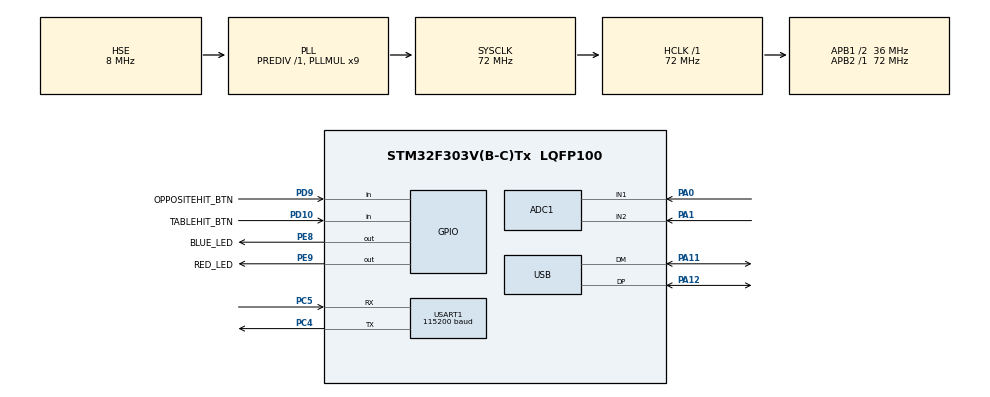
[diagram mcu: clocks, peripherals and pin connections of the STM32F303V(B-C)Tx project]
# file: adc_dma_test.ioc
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ADC1.Channel-0\#ChannelRegularConversion=ADC_CHANNEL_1
ADC1.Channel-1\#ChannelRegularConversion=ADC_CHANNEL_2
ADC1.ContinuousConvMode=ENABLE
ADC1.DMAContinuousRequests=ENABLE
ADC1.NbrOfConversion=2
ADC1.NbrOfConversionFlag=1
ADC1.Offset-0\#ChannelRegularConversion=0
ADC1.Offset-1\#ChannelRegularConversion=0
ADC1.OffsetNumber-0\#ChannelRegularConversion=ADC_OFFSET_NONE
ADC1.OffsetNumber-1\#ChannelRegularConversion=ADC_OFFSET_NONE
ADC1.Rank-0\#ChannelRegularConversion=1
ADC1.Rank-1\#ChannelRegularConversion=2
ADC1.SamplingTime-0\#ChannelRegularConversion=ADC_SAMPLETIME_601CYCLES_5
ADC1.SamplingTime-1\#ChannelRegularConversion=ADC_SAMPLETIME_601CYCLES_5
ADC1.SamplingTimeOPAMP-1\#ChannelRegularConversion=ADC_SAMPLETIME_19CYCLES_5
ADC1.master=1
Dma.ADC1.0.Direction=DMA_PERIPH_TO_MEMORY
Dma.ADC1.0.Instance=DMA1_Channel1
Dma.ADC1.0.MemDataAlignment=DMA_MDATAALIGN_HALFWORD
Dma.ADC1.0.MemInc=DMA_MINC_ENABLE
Dma.ADC1.0.Mode=DMA_CIRCULAR
Dma.ADC1.0.PeriphDataAlignment=DMA_PDATAALIGN_HALFWORD
Dma.ADC1.0.PeriphInc=DMA_PINC_DISABLE
Dma.ADC1.0.Priority=DMA_PRIORITY_LOW
Dma.Request0=ADC1
EdgeImpulse.OS-APPSC.1.0.10.MachineLearningCcOSAaAPPSCJjCore=true
FREERTOS.BinarySemaphores01=dataAvailable,Dynamic,NULL
FREERTOS.Queues01=inferenceTaskQueue,16,uint32_t,0,Dynamic,NULL,NULL
FREERTOS.Tasks01=samplingTask,-2,128,StartSamplingTask,Default,NULL,Dynamic,NULL,NULL;inferencingTask,2,256,StartInferencingTask,Default,NULL,Dynamic,NULL,NULL
FREERTOS.Timers01=timeoutTimer,timeoutCallback,osTimerOnce,Default,NULL,Dynamic,NULL
FREERTOS.configTIMER_TASK_PRIORITY=1
FREERTOS.configUSE_NEWLIB_REENTRANT=1
FREERTOS.configUSE_TIMERS=1
Mcu.Family=STM32F3
Mcu.Name=STM32F303V(B-C)Tx
Mcu.Package=LQFP100
NVIC.DMA1_Channel1_IRQn=true\:5\:0\:false\:false\:true\:true\:false\:true\:true
NVIC.PriorityGroup=NVIC_PRIORITYGROUP_4
NVIC.TIM1_UP_TIM16_IRQn=true\:15\:0\:true\:false\:true\:false\:false\:true\:true
NVIC.TimeBase=TIM1_UP_TIM16_IRQn
NVIC.TimeBaseIP=TIM1
PA0.Mode=IN1-Single-Ended
PA0.Signal=ADC1_IN1
PA1.Mode=IN2-Single-Ended
PA1.Signal=ADC1_IN2
PA11.Mode=Device
PA11.Signal=USB_DM
PA12.Mode=Device
PA12.Signal=USB_DP
PC14-OSC32_IN.Mode=LSE-External-Oscillator
PC14-OSC32_IN.Signal=RCC_OSC32_IN
PC15-OSC32_OUT.Mode=LSE-External-Oscillator
PC15-OSC32_OUT.Signal=RCC_OSC32_OUT
PC4.Mode=Asynchronous
PC4.Signal=USART1_TX
PC5.Mode=Asynchronous
PC5.Signal=USART1_RX
PD10.GPIO_Label=TABLEHIT_BTN
PD10.GPIO_PuPd=GPIO_PULLUP
PD10.Signal=GPIO_Input
PD9.GPIO_Label=OPPOSITEHIT_BTN
PD9.Signal=GPIO_Input
PE8.GPIO_Label=BLUE_LED
PE8.Signal=GPIO_Output
PE9.GPIO_Label=RED_LED
PE9.Signal=GPIO_Output
PF0-OSC_IN.Mode=HSE-External-Oscillator
PF0-OSC_IN.Signal=RCC_OSC_IN
PF1-OSC_OUT.Mode=HSE-External-Oscillator
PF1-OSC_OUT.Signal=RCC_OSC_OUT
ProjectManager.HeapSize=0x200
ProjectManager.StackSize=0x400
ProjectManager.TargetToolchain=STM32CubeIDE
RCC.ADC12PRES=RCC_ADC12PLLCLK_DIV256
RCC.AHBFreq_Value=72000000
RCC.APB1CLKDivider=RCC_HCLK_DIV2
RCC.APB1Freq_Value=36000000
RCC.APB1TimFreq_Value=72000000
RCC.APB2Freq_Value=72000000
RCC.APB2TimFreq_Value=72000000
RCC.CortexFreq_Value=72000000
RCC.HCLKFreq_Value=72000000
RCC.HSE_VALUE=8000000
RCC.HSI_VALUE=8000000
RCC.PLLMUL=RCC_PLL_MUL9
RCC.PRESCALERUSB=RCC_USBCLKSOURCE_PLL_DIV1_5
RCC.SYSCLKFreq_VALUE=72000000
RCC.SYSCLKSourceVirtual=RCC_SYSCLKSOURCE_PLLCLK
RCC.USBFreq_Value=48000000
USART1.BaudRate=115200
USART1.Mode=MODE_TX
USART1.VirtualMode-Asynchronous=VM_ASYNC
VP_EdgeImpulse.OS-APPSC_VS_OSAaAPPSCJjMachineLearning_1.0.10_1.0.10.Mode=OSAaAPPSCJjMachineLearning
VP_FREERTOS_VS_CMSIS_V1.Mode=CMSIS_V1
VP_SYS_VS_tim1.Mode=TIM1
board=STM32F3DISCOVERY

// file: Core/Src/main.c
/* USER CODE BEGIN Header */
/**
  ******************************************************************************
  * @file           : main.c
  * @brief          : Main program body
  ******************************************************************************
  * @attention
  *
  * Copyright (c) 2023 STMicroelectronics.
  * All rights reserved.
  *
  * This software is licensed under terms that can be found in the LICENSE file
  * in the root directory of this software component.
  * If no LICENSE file comes with this software, it is provided AS-IS.
  *
  ******************************************************************************
  */
/* USER CODE END Header */
#include "main.h"
#include "cmsis_os.h"
#include "adc.h"
#include "dma.h"
#include "usart.h"
#include "usb.h"
#include "gpio.h"

void SystemClock_Config(void);
void MX_FREERTOS_Init(void);

int main(void)
{

  /* MCU Configuration--------------------------------------------------------*/

  /* Reset of all peripherals, Initializes the Flash interface and the Systick. */
  HAL_Init();

  /* Configure the system clock */
  SystemClock_Config();

  /* Initialize all configured peripherals */
  MX_GPIO_Init();
  MX_DMA_Init();
  MX_ADC1_Init();
  MX_USART1_UART_Init();
  MX_USB_PCD_Init();

  /* Call init function for freertos objects (in freertos.c) */
  MX_FREERTOS_Init();

  /* Start scheduler */
  osKernelStart();

  /* We should never get here as control is now taken by the scheduler */
  /* Infinite loop */
  while (1)
  {

  }
}

void SystemClock_Config(void)
{
  RCC_OscInitTypeDef RCC_OscInitStruct = {0};
  RCC_ClkInitTypeDef RCC_ClkInitStruct = {0};
  RCC_PeriphCLKInitTypeDef PeriphClkInit = {0};

  /** Initializes the RCC Oscillators according to the specified parameters
  * in the RCC_OscInitTypeDef structure.
  */
  RCC_OscInitStruct.OscillatorType = RCC_OSCILLATORTYPE_HSE;
  RCC_OscInitStruct.HSEState = RCC_HSE_ON;
  RCC_OscInitStruct.HSEPredivValue = RCC_HSE_PREDIV_DIV1;
  RCC_OscInitStruct.HSIState = RCC_HSI_ON;
  RCC_OscInitStruct.PLL.PLLState = RCC_PLL_ON;
  RCC_OscInitStruct.PLL.PLLSource = RCC_PLLSOURCE_HSE;
  RCC_OscInitStruct.PLL.PLLMUL = RCC_PLL_MUL9;
  if (HAL_RCC_OscConfig(&RCC_OscInitStruct) != HAL_OK)
  {
    Error_Handler();
  }

  /** Initializes the CPU, AHB and APB buses clocks
  */
  RCC_ClkInitStruct.ClockType = RCC_CLOCKTYPE_HCLK|RCC_CLOCKTYPE_SYSCLK
                              |RCC_CLOCKTYPE_PCLK1|RCC_CLOCKTYPE_PCLK2;
  RCC_ClkInitStruct.SYSCLKSource = RCC_SYSCLKSOURCE_PLLCLK;
  RCC_ClkInitStruct.AHBCLKDivider = RCC_SYSCLK_DIV1;
  RCC_ClkInitStruct.APB1CLKDivider = RCC_HCLK_DIV2;
  RCC_ClkInitStruct.APB2CLKDivider = RCC_HCLK_DIV1;

  if (HAL_RCC_ClockConfig(&RCC_ClkInitStruct, FLASH_LATENCY_2) != HAL_OK)
  {
    Error_Handler();
  }
  PeriphClkInit.PeriphClockSelection = RCC_PERIPHCLK_USB|RCC_PERIPHCLK_USART1
                              |RCC_PERIPHCLK_ADC12;
  PeriphClkInit.Usart1ClockSelection = RCC_USART1CLKSOURCE_PCLK2;
  PeriphClkInit.Adc12ClockSelection = RCC_ADC12PLLCLK_DIV256;
  PeriphClkInit.USBClockSelection = RCC_USBCLKSOURCE_PLL_DIV1_5;
  if (HAL_RCCEx_PeriphCLKConfig(&PeriphClkInit) != HAL_OK)
  {
    Error_Handler();
  }
}

void HAL_TIM_PeriodElapsedCallback(TIM_HandleTypeDef *htim)
{
  if (htim->Instance == TIM1) {
    HAL_IncTick();
  }
}

void Error_Handler(void)
{
  __disable_irq();
  while (1)
  {
  }
}

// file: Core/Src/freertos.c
/* USER CODE BEGIN Header */
/**
  ******************************************************************************
  * File Name          : freertos.c
  * Description        : Code for freertos applications
  ******************************************************************************
  * @attention
  *
  * Copyright (c) 2023 STMicroelectronics.
  * All rights reserved.
  *
  * This software is licensed under terms that can be found in the LICENSE file
  * in the root directory of this software component.
  * If no LICENSE file comes with this software, it is provided AS-IS.
  *
  ******************************************************************************
  */
/* USER CODE END Header */

#include "FreeRTOS.h"
#include "task.h"
#include "main.h"
#include "cmsis_os.h"

/* USER CODE BEGIN Includes */
#include "adc.h"
#include "pingpong.h"
#include "stdbool.h"
#include "classifier.h"
#include "model-parameters/model_metadata.h"
#include "task.h"
/* USER CODE END Includes */

/* USER CODE BEGIN Variables */
volatile bool listening = true;

uint16_t dma_buffer[EI_CLASSIFIER_SLICE_SIZE*2];
const uint32_t buf_start_pointer = 0;
const uint32_t buf_half_pointer = EI_CLASSIFIER_SLICE_SIZE;
uint32_t buf_offset;

volatile state_t state = START;
volatile state_t server = START;
volatile uint8_t l_score = 0;
volatile uint8_t r_score = 0;
volatile bool deuce = false;
/* USER CODE END Variables */
osThreadId samplingTaskHandle;
osThreadId inferencingTaskHandle;
osMessageQId inferenceTaskQueueHandle;
osTimerId timeoutTimerHandle;
osSemaphoreId dataAvailableHandle;

void StartSamplingTask(void const * argument);
void StartInferencingTask(void const * argument);
void timeoutCallback(void const * argument);

void MX_FREERTOS_Init(void); /* (MISRA C 2004 rule 8.1) */

/* GetIdleTaskMemory prototype (linked to static allocation support) */
void vApplicationGetIdleTaskMemory( StaticTask_t **ppxIdleTaskTCBBuffer, StackType_t **ppxIdleTaskStackBuffer, uint32_t *pulIdleTaskStackSize );

/* GetTimerTaskMemory prototype (linked to static allocation support) */
void vApplicationGetTimerTaskMemory( StaticTask_t **ppxTimerTaskTCBBuffer, StackType_t **ppxTimerTaskStackBuffer, uint32_t *pulTimerTaskStackSize );

/* USER CODE BEGIN GET_IDLE_TASK_MEMORY */
static StaticTask_t xIdleTaskTCBBuffer;
static StackType_t xIdleStack[configMINIMAL_STACK_SIZE];

void vApplicationGetIdleTaskMemory( StaticTask_t **ppxIdleTaskTCBBuffer, StackType_t **ppxIdleTaskStackBuffer, uint32_t *pulIdleTaskStackSize )
{
  *ppxIdleTaskTCBBuffer = &xIdleTaskTCBBuffer;
  *ppxIdleTaskStackBuffer = &xIdleStack[0];
  *pulIdleTaskStackSize = configMINIMAL_STACK_SIZE;
  /* place for user code */
}
/* USER CODE END GET_IDLE_TASK_MEMORY */

/* USER CODE BEGIN GET_TIMER_TASK_MEMORY */
static StaticTask_t xTimerTaskTCBBuffer;
static StackType_t xTimerStack[configTIMER_TASK_STACK_DEPTH];

void vApplicationGetTimerTaskMemory( StaticTask_t **ppxTimerTaskTCBBuffer, StackType_t **ppxTimerTaskStackBuffer, uint32_t *pulTimerTaskStackSize )
{
  *ppxTimerTaskTCBBuffer = &xTimerTaskTCBBuffer;
  *ppxTimerTaskStackBuffer = &xTimerStack[0];
  *pulTimerTaskStackSize = configTIMER_TASK_STACK_DEPTH;
  /* place for user code */
}
/* USER CODE END GET_TIMER_TASK_MEMORY */

void MX_FREERTOS_Init(void) {
  /* USER CODE BEGIN Init */

  print_score("Choose player:");
  classifier_init();
  HAL_ADC_Start_DMA(&hadc1, dma_buffer, 1000);
  /* USER CODE END Init */

  /* Create the semaphores(s) */
  /* definition and creation of dataAvailable */
  osSemaphoreDef(dataAvailable);
  dataAvailableHandle = osSemaphoreCreate(osSemaphore(dataAvailable), 1);

  /* Create the timer(s) */
  /* definition and creation of timeoutTimer */
  osTimerDef(timeoutTimer, timeoutCallback);
  timeoutTimerHandle = osTimerCreate(osTimer(timeoutTimer), osTimerOnce, NULL);

  /* Create the queue(s) */
  /* definition and creation of inferenceTaskQueue */
  osMessageQDef(inferenceTaskQueue, 16, uint32_t);
  inferenceTaskQueueHandle = osMessageCreate(osMessageQ(inferenceTaskQueue), NULL);

  /* Create the thread(s) */
  /* definition and creation of samplingTask */
  osThreadDef(samplingTask, StartSamplingTask, osPriorityLow, 0, 128);
  samplingTaskHandle = osThreadCreate(osThread(samplingTask), NULL);

  /* definition and creation of inferencingTask */
  osThreadDef(inferencingTask, StartInferencingTask, osPriorityHigh, 0, 256);
  inferencingTaskHandle = osThreadCreate(osThread(inferencingTask), NULL);

}

void StartSamplingTask(void const * argument)
{
  /* USER CODE BEGIN StartSamplingTask */
  /* Infinite loop */
  for(;;)
  {
      osDelay(1000);
  }
  /* USER CODE END StartSamplingTask */
}

void StartInferencingTask(void const * argument)
{
  /* USER CODE BEGIN StartInferencingTask */
  /* Infinite loop */
	for(;;) {
        if (xSemaphoreTake(dataAvailableHandle, portMAX_DELAY) == pdTRUE) {

            bool oppositehit = false;
            bool tablehit = false;

            uint32_t res = classify_slice(buf_offset);

            if (res == 0) {
                tablehit = true;
            } else if (res == 1) {
                oppositehit = true;
            }

            if (oppositehit || tablehit) {
                xTimerStop(timeoutTimerHandle, 0);
                switch_pp_state(tablehit, oppositehit);
                if (state == R_WAIT || state == R_TURN || state == L_WAIT || state == L_TURN) {
                    xTimerStart(timeoutTimerHandle, PP_TIMEOUT_TICKS);
                    // I fucking love embedded
                    xTimerChangePeriod(timeoutTimerHandle, PP_TIMEOUT_TICKS, 0);
                }
            }
        }
	}
  /* USER CODE END StartInferencingTask */
}

/* timeoutCallback function */
void timeoutCallback(void const * argument)
{
  /* USER CODE BEGIN timeoutCallback */
    check_timeout(state);
  /* USER CODE END timeoutCallback */
}

/* USER CODE BEGIN Application */

void HAL_ADC_ConvHalfCpltCallback(ADC_HandleTypeDef *hadc) {
    HAL_GPIO_TogglePin(RED_LED_GPIO_Port, RED_LED_Pin);
    BaseType_t wokenUp = pdFALSE;
    buf_offset = buf_start_pointer;
    xSemaphoreGiveFromISR(dataAvailableHandle, &wokenUp);
    portEND_SWITCHING_ISR(wokenUp);

}

void HAL_ADC_ConvCpltCallback(ADC_HandleTypeDef *hadc) {
    HAL_GPIO_TogglePin(RED_LED_GPIO_Port, RED_LED_Pin);
    BaseType_t wokenUp = pdFALSE;
    buf_offset = buf_half_pointer;
    xSemaphoreGiveFromISR(dataAvailableHandle, &wokenUp);
    portEND_SWITCHING_ISR(wokenUp);
}
/* USER CODE END Application */
